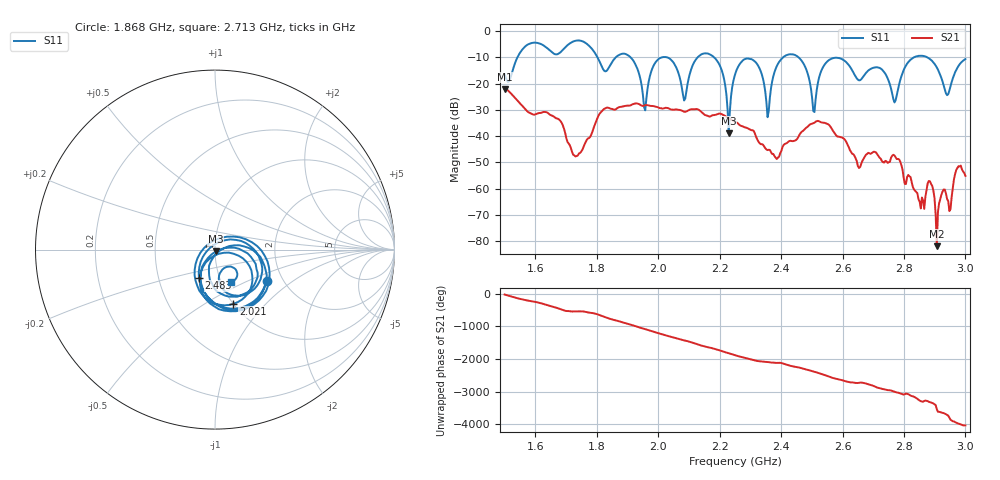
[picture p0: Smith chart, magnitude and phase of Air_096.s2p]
# HZ S RI R 50
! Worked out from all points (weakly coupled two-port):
!   404 points, 1.5 GHz to 3 GHz, reference 50 ohm
!   highest |S21| = -22.07 dB at 1.5 GHz (marker M1); lowest = -81.8 dB at 2.907 GHz (marker M2)
!   lowest |S11| = -38.8 dB at 2.23 GHz (marker M3), VSWR 1.02, Z = 50.4 - j1.07 ohm
!   |S11| at or under -10 dB: 2.181 GHz to 2.407 GHz (225.4 MHz wide, 9.83 % of centre); 2.457 GHz to 2.833 GHz (376.4 MHz wide, 14.2 % of centre); 2.875 GHz to end of sweep (the widest 3 of 7)
!   S12 and S22 are empty: the file has one direction only
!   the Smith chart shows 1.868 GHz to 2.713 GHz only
!   S11 on the Smith chart (normalised r, x): 1.868 GHz: 1.65, -0.66; 2.021 GHz: 1.00, -0.67; 2.483 GHz: 0.80, -0.26; 2.713 GHz: 1.11, -0.42
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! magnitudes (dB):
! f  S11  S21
! 1.5 GHz  -16.5  -22.1
! 1.753 GHz  -3.9  -45.2
! 1.868 GHz  -9.4  -29.2
! 1.958 GHz  -30.2  -28.2
! 2.002 GHz  -10.6  -29.2
! 2.021 GHz  -9.9  -29.3
! 2.084 GHz  -26.4  -30.7
! 2.177 GHz  -9.6  -32.0
! 2.23 GHz  -38.8  -33.2
! 2.252 GHz  -15.9  -34.6
! 2.315 GHz  -11.7  -39.1
! 2.356 GHz  -32.8  -45.3
! 2.386 GHz  -13.4  -48.7
! 2.483 GHz  -14.9  -36.7
! 2.501 GHz  -25.7  -35.3
! 2.565 GHz  -10.5  -37.1
! 2.713 GHz  -13.8  -47.0
! 2.751 GHz  -19.1  -49.9
! 2.885 GHz  -10.7  -57.1
! 2.907 GHz  -13.9  -81.8
! 2.94 GHz  -24.4  -63.9
! 3 GHz  -10.7  -55.1
